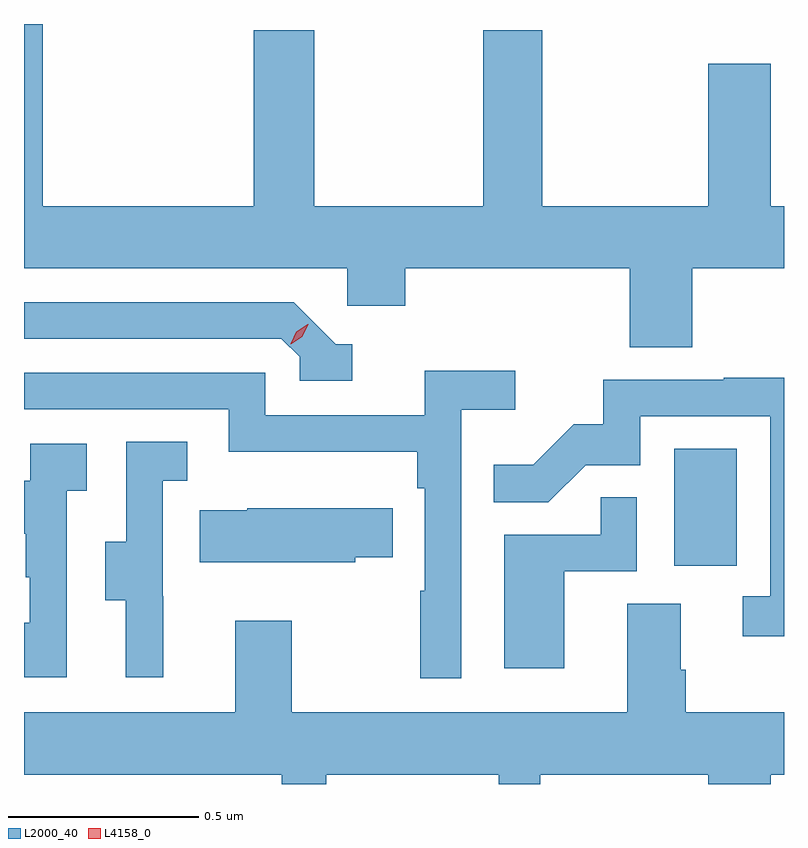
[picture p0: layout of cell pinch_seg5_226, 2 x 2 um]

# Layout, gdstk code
import gdstk
lib = gdstk.Library(unit=1e-6, precision=1e-09)
def R(c, l, rs):  # rectangles x0, y0, x1, y1
    for r in rs: c.add(gdstk.rectangle(r[:2], r[2:], *l))
def P(c, l, *ps):  # polygons
    for p in ps: c.add(gdstk.Polygon(p, *l))
L2000_40 = (2000, 40)
L4158_0 = (4158, 0)

pinch_seg5_226 = lib.new_cell('pinch_seg5_226')
R(pinch_seg5_226, L2000_40, [(980.102,907.926,980.266,908.233)])
P(pinch_seg5_226, L2000_40, [(980.15,908.708),(980.391,908.708),(980.391,908.872),(980.356,908.872),(980.356,909.247),(980.192,909.247),(980.192,908.872),(979.755,908.872),(979.755,909.334),(979.6,909.334),(979.6,908.872),(979.155,908.872),(979.155,909.334),(978.995,909.334),(978.995,908.872),(978.44,908.872),(978.44,909.351),(978.391,909.351),(978.391,908.708),(979.242,908.708),(979.242,908.61),(979.394,908.61),(979.394,908.708),(979.985,908.708),(979.985,908.5),(980.15,908.5)],
  [(979.255,908.508),(979.212,908.508),(979.101,908.619),(978.391,908.619),(978.391,908.523),(979.068,908.523),(979.116,908.475),(979.116,908.412),(979.255,908.412)],
  [(979.542,908.336),(979.684,908.336),(979.684,908.438),(979.445,908.438),(979.445,908.322),(979.026,908.322),(979.026,908.433),(978.391,908.433),(978.391,908.337),(978.93,908.337),(978.93,908.225),(979.426,908.225),(979.426,908.129),(979.446,908.129),(979.446,907.859),(979.434,907.859),(979.434,907.629),(979.542,907.629)],
  [(980.391,908.42),(980.233,908.42),(980.233,908.415),(979.915,908.415),(979.915,908.298),(979.838,908.298),(979.731,908.191),(979.627,908.191),(979.627,908.092),(979.771,908.092),(979.869,908.19),(980.013,908.19),(980.013,908.319),(980.355,908.319),(980.355,907.845),(980.283,907.845),(980.283,907.74),(980.391,907.74)],
  [(978.758,907.845),(978.756,907.845),(978.756,908.149),(978.82,908.149),(978.82,908.252),(978.66,908.252),(978.66,907.989),(978.605,907.989),(978.605,907.834),(978.659,907.834),(978.659,907.632),(978.758,907.632)],
  [(978.504,908.123),(978.556,908.123),(978.556,908.247),(978.408,908.247),(978.408,908.149),(978.391,908.149),(978.391,908.009),(978.396,908.009),(978.396,907.895),(978.406,907.895),(978.406,907.776),(978.391,907.776),(978.391,907.632),(978.504,907.632)],
  [(979.813,907.911),(980.004,907.911),(980.004,908.105),(979.909,908.105),(979.909,908.007),(979.655,908.007),(979.655,907.656),(979.813,907.656)],
  [(979.263,907.948),(979.361,907.948),(979.361,908.077),(978.978,908.077),(978.978,908.071),(978.853,908.071),(978.853,907.934),(979.263,907.934)],
  [(979.187,907.376),(979.64,907.376),(979.64,907.351),(979.75,907.351),(979.75,907.376),(980.192,907.376),(980.192,907.351),(980.356,907.351),(980.356,907.376),(980.391,907.376),(980.391,907.54),(980.132,907.54),(980.132,907.652),(980.119,907.652),(980.119,907.826),(979.979,907.826),(979.979,907.54),(979.095,907.54),(979.095,907.78),(978.947,907.78),(978.947,907.54),(978.391,907.54),(978.391,907.376),(979.069,907.376),(979.069,907.351),(979.187,907.351)])
P(pinch_seg5_226, L4158_0, [(979.093,908.508),(979.093,908.509),(979.108,908.541),(979.138,908.561),(979.139,908.561),(979.139,908.561),(979.123,908.528),(979.093,908.508)])

lib.write_gds('pinch_seg5_226.gds')
